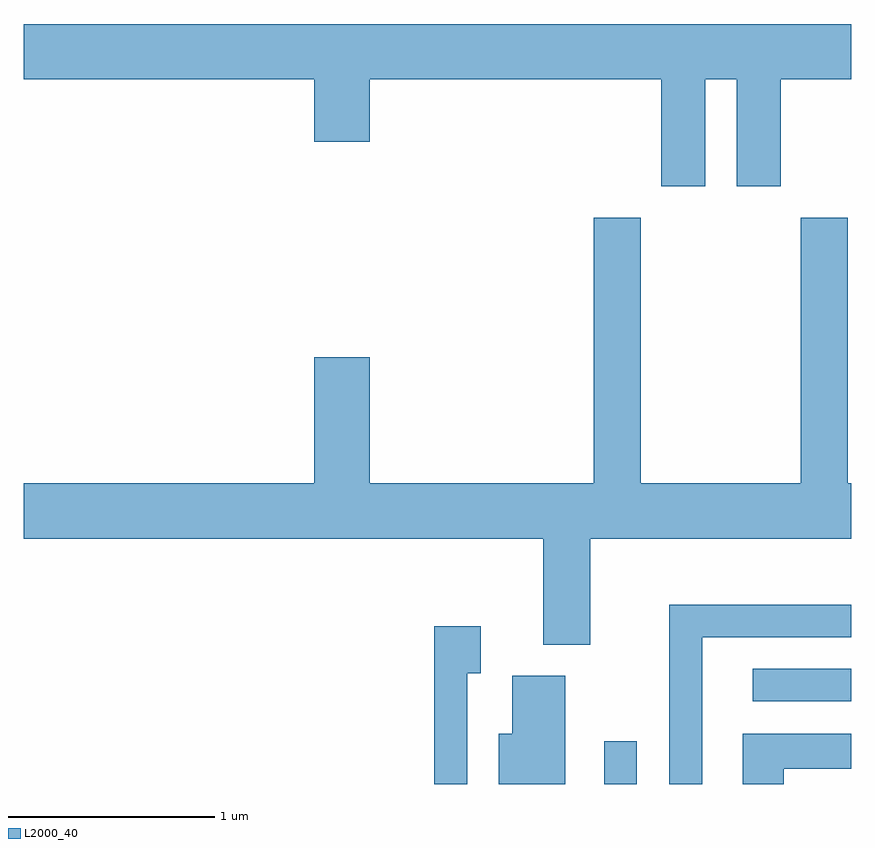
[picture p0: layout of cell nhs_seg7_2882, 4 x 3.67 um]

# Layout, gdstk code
import gdstk
lib = gdstk.Library(unit=1e-6, precision=1e-09)
def R(c, l, rs):  # rectangles x0, y0, x1, y1
    for r in rs: c.add(gdstk.rectangle(r[:2], r[2:], *l))
def P(c, l, *ps):  # polygons
    for p in ps: c.add(gdstk.Polygon(p, *l))
L2000_40 = (2000, 40)

nhs_seg7_2882 = lib.new_cell('nhs_seg7_2882')
R(nhs_seg7_2882, L2000_40, [(276.416,1704.252,276.574,1704.458), (277.133,1704.651,277.611,1704.809)])
P(nhs_seg7_2882, L2000_40, [(276.904,1707.656),(277.056,1707.656),(277.056,1707.141),(277.269,1707.141),(277.269,1707.656),(277.611,1707.656),(277.611,1707.924),(273.611,1707.924),(273.611,1707.656),(275.016,1707.656),(275.016,1707.356),(275.284,1707.356),(275.284,1707.656),(276.691,1707.656),(276.691,1707.141),(276.904,1707.141)],
  [(276.349,1705.436),(277.611,1705.436),(277.611,1705.704),(277.594,1705.704),(277.594,1706.989),(277.366,1706.989),(277.366,1705.704),(276.594,1705.704),(276.594,1706.989),(276.366,1706.989),(276.366,1705.704),(275.284,1705.704),(275.284,1706.314),(275.016,1706.314),(275.016,1705.704),(273.611,1705.704),(273.611,1705.436),(276.121,1705.436),(276.121,1704.926),(276.349,1704.926)],
  [(276.889,1704.961),(277.611,1704.961),(277.611,1705.119),(276.731,1705.119),(276.731,1704.252),(276.889,1704.252)],
  [(275.754,1704.786),(275.819,1704.786),(275.819,1705.014),(275.596,1705.014),(275.596,1704.252),(275.754,1704.252)],
  [(276.229,1704.774),(275.971,1704.774),(275.971,1704.494),(275.906,1704.494),(275.906,1704.252),(276.229,1704.252)],
  [(277.284,1704.326),(277.611,1704.326),(277.611,1704.494),(277.086,1704.494),(277.086,1704.252),(277.284,1704.252)])

lib.write_gds('nhs_seg7_2882.gds')
